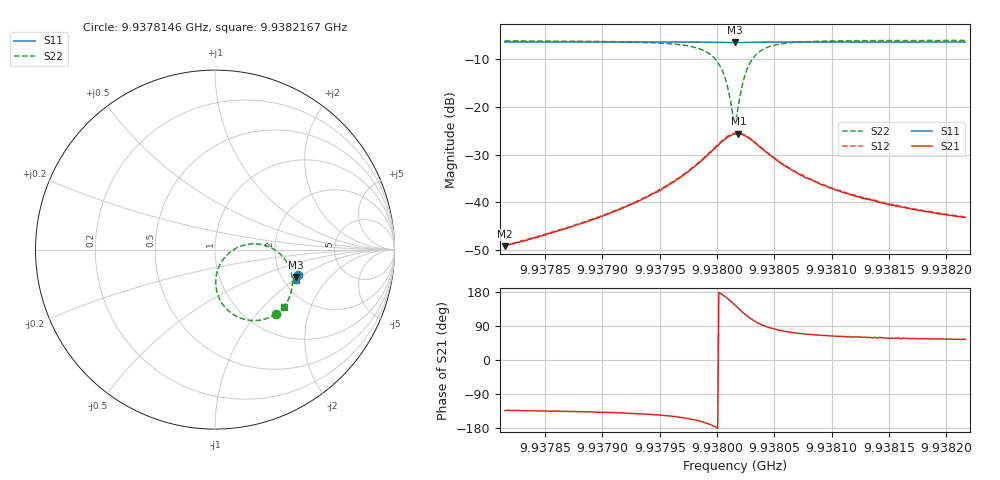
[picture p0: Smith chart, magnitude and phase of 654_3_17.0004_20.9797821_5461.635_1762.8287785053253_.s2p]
#  HZ  S  RI  R  50.00
! Rohde & Schwarz Vector Network Analyzer
! Rohde-Schwarz,ZNB20-2Port,1311601062101988,3.16
! Created: UTC 3/20/2024, 11:21:23 PM
! freq[Hz]  re:S11  im:S11  re:S21  im:S21  re:S12  im:S12  re:S22  im:S22
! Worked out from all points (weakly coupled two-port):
!   401 points, 9.9378146 GHz to 9.9382167 GHz, reference 50 ohm
!   highest |S21| = -25.63 dB at 9.9380187 GHz (marker M1); lowest = -49.2 dB at 9.9378146 GHz (marker M2)
!   lowest |S11| = -6.5 dB at 9.9380156 GHz (marker M3), VSWR 2.80, Z = 119 - j46.7 ohm
!   |S11| at or under -10 dB: nowhere
!   |S22| runs from -23.1 to -6.1 dB; largest |S21 - S12| = 0.0022
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9.9378146e9  0.4599 -0.1421  -0.00239 -0.00252  -0.00247 -0.00255  0.3394 -0.3574
9.93788195e9  0.458 -0.1468  -0.00437 -0.00417  -0.0045 -0.00416  0.3177 -0.3704
9.93791512e9  0.4569 -0.1491  -0.00645 -0.0055  -0.00661 -0.00548  0.2976 -0.3801
9.9379493e9  0.4557 -0.1517  -0.0109 -0.00767  -0.0113 -0.00748  0.2571 -0.3919
9.93798046e9  0.4534 -0.1542  -0.022 -0.00884  -0.0225 -0.00887  0.1642 -0.3888
9.93799655e9  0.4515 -0.155  -0.0351 -0.00387  -0.0361 -0.00337  0.0631 -0.3296
9.93800157e9  0.4506 -0.1548  -0.0405 0.00105  -0.0415 0.00192  0.028 -0.2804
9.93800559e9  0.45 -0.1543  -0.0441 0.00723  -0.045 0.00859  0.00803 -0.2244
9.93800961e9  0.4495 -0.1535  -0.046 0.0156  -0.0467 0.0174  0.0054 -0.1537
9.93801363e9  0.4493 -0.1528  -0.0447 0.0255  -0.0451 0.0273  0.0308 -0.0774
9.93801564e9  0.4492 -0.1524  -0.0427 0.03  -0.0428 0.032  0.0551 -0.0426
9.93801665e9  0.4494 -0.152  -0.0411 0.0323  -0.0414 0.0343  0.07 -0.0268
9.93801866e9  0.4495 -0.1516  -0.0379 0.0361  -0.0377 0.0383  0.1039 -0.000349
9.93802168e9  0.45 -0.1512  -0.0315 0.0408  -0.0309 0.0426  0.1617 0.025
9.9380257e9  0.4511 -0.151  -0.0226 0.0434  -0.0215 0.0448  0.2383 0.0313
9.93802972e9  0.4519 -0.151  -0.0144 0.0431  -0.0133 0.0442  0.3027 0.0148
9.93803575e9  0.453 -0.1516  -0.00513 0.0392  -0.00412 0.0399  0.3687 -0.0302
9.93805183e9  0.4539 -0.1537  0.00464 0.0274  0.00534 0.0276  0.4276 -0.1405
9.938083e9  0.4537 -0.1571  0.00665 0.0156  0.007 0.0157  0.4241 -0.2385
9.93811114e9  0.4529 -0.1594  0.00583 0.0111  0.00624 0.0111  0.4108 -0.2741
9.93815035e9  0.4518 -0.1623  0.00507 0.00789  0.00518 0.00798  0.397 -0.2992
9.93821669e9  0.4499 -0.1669  0.00402 0.00564  0.00419 0.00565  0.3821 -0.3197
